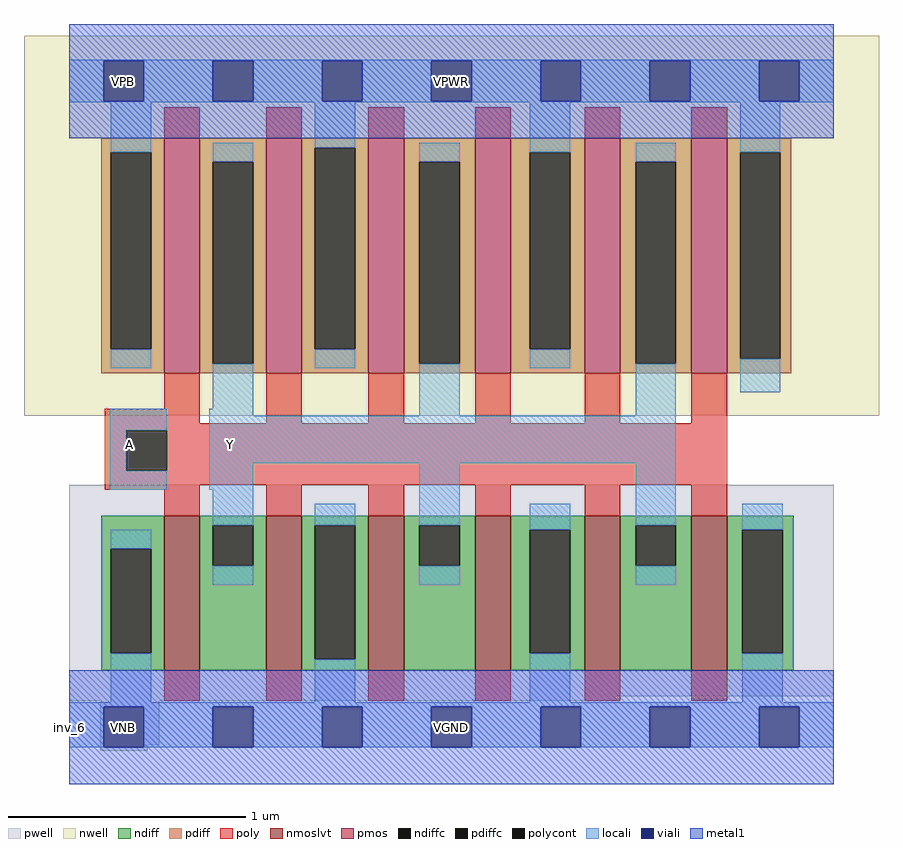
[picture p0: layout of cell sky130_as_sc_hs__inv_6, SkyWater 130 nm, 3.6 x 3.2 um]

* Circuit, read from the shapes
.subckt sky130_as_sc_hs__inv_6 VNB VPB VGND VPWR A Y
XM1 Y A VGND VNB sky130_fd_pr__nfet_01v8_lvt w=0.65 l=0.15 m=6
XM2 Y A VPWR VPB sky130_fd_pr__pfet_01v8 w=0.99 l=0.15 m=6
.ends

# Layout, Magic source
magic
tech sky130A
magscale 1 2
<< nwell >>
rect -38 262 682 582
<< pwell >>
rect 0 26 644 204
rect 0 24 460 26
rect 0 22 464 24
rect 524 22 554 24
rect 26 -15 76 22
rect 26 -20 66 -15
<< pmos >>
rect 80 298 110 496
rect 166 298 196 496
rect 252 298 282 496
rect 342 298 372 496
rect 434 298 464 496
rect 524 298 554 496
<< nmoslvt >>
rect 80 48 110 178
rect 166 48 196 178
rect 252 48 282 178
rect 342 48 372 178
rect 434 48 464 178
rect 524 48 554 178
<< ndiff >>
rect 27 150 80 178
rect 27 62 35 150
rect 69 62 80 150
rect 27 48 80 62
rect 110 170 166 178
rect 110 136 121 170
rect 155 136 166 170
rect 110 48 166 136
rect 196 170 252 178
rect 196 57 207 170
rect 241 57 252 170
rect 196 48 252 57
rect 282 170 342 178
rect 282 136 295 170
rect 329 136 342 170
rect 282 48 342 136
rect 372 166 434 178
rect 372 62 388 166
rect 422 62 434 166
rect 372 48 434 62
rect 464 170 524 178
rect 464 136 477 170
rect 511 136 524 170
rect 464 48 524 136
rect 554 166 610 178
rect 554 62 567 166
rect 601 62 610 166
rect 554 48 610 62
<< pdiff >>
rect 27 484 80 496
rect 27 318 35 484
rect 69 318 80 484
rect 27 298 80 318
rect 110 476 166 496
rect 110 306 121 476
rect 155 306 166 476
rect 110 298 166 306
rect 196 488 252 496
rect 196 318 207 488
rect 241 318 252 488
rect 196 298 252 318
rect 282 476 342 496
rect 282 306 295 476
rect 329 306 342 476
rect 282 298 342 306
rect 372 484 434 496
rect 372 318 388 484
rect 422 318 434 484
rect 372 298 434 318
rect 464 476 524 496
rect 464 306 477 476
rect 511 306 524 476
rect 464 298 524 306
rect 554 484 608 496
rect 554 310 565 484
rect 599 310 608 484
rect 554 298 608 310
<< ndiffc >>
rect 35 62 69 150
rect 121 136 155 170
rect 207 57 241 170
rect 295 136 329 170
rect 388 62 422 166
rect 477 136 511 170
rect 567 62 601 166
<< pdiffc >>
rect 35 318 69 484
rect 121 306 155 476
rect 207 318 241 488
rect 295 306 329 476
rect 388 318 422 484
rect 477 306 511 476
rect 565 310 599 484
<< poly >>
rect 80 496 110 522
rect 166 496 196 522
rect 252 496 282 522
rect 342 496 372 522
rect 434 496 464 522
rect 524 496 554 522
rect 80 268 110 298
rect 30 256 110 268
rect 166 256 196 298
rect 252 256 282 298
rect 342 256 372 298
rect 434 256 464 298
rect 524 256 554 298
rect 30 250 554 256
rect 30 216 48 250
rect 82 216 554 250
rect 30 204 554 216
rect 30 200 110 204
rect 80 178 110 200
rect 166 178 196 204
rect 252 178 282 204
rect 342 178 372 204
rect 434 178 464 204
rect 524 178 554 204
rect 80 22 110 48
rect 166 22 196 48
rect 252 22 282 48
rect 342 22 372 48
rect 434 22 464 48
rect 524 22 554 48
<< polycont >>
rect 48 216 82 250
<< locali >>
rect 0 561 644 562
rect 0 527 29 561
rect 63 527 121 561
rect 155 527 213 561
rect 247 527 305 561
rect 339 527 397 561
rect 431 527 489 561
rect 523 527 581 561
rect 615 527 644 561
rect 0 526 644 527
rect 35 484 69 526
rect 35 302 69 318
rect 121 476 155 492
rect 121 268 155 306
rect 207 488 241 526
rect 207 302 241 318
rect 295 476 329 492
rect 34 250 82 268
rect 34 216 48 250
rect 34 200 82 216
rect 118 262 155 268
rect 295 262 329 306
rect 388 484 422 526
rect 388 302 422 318
rect 477 476 511 492
rect 477 262 511 306
rect 565 484 599 526
rect 565 282 599 310
rect 118 222 511 262
rect 118 200 155 222
rect 121 170 155 200
rect 35 150 69 166
rect 121 120 155 136
rect 207 170 241 188
rect 35 21 69 62
rect 295 170 329 222
rect 295 120 329 136
rect 388 166 422 188
rect 207 21 241 57
rect 477 170 511 222
rect 477 120 511 136
rect 567 166 601 188
rect 388 21 422 62
rect 567 21 601 62
rect 0 17 644 21
rect 0 -17 29 17
rect 63 -17 121 17
rect 155 -17 213 17
rect 247 -17 305 17
rect 339 -17 397 17
rect 431 -17 489 17
rect 523 -17 581 17
rect 615 -17 644 17
<< viali >>
rect 29 527 63 561
rect 121 527 155 561
rect 213 527 247 561
rect 305 527 339 561
rect 397 527 431 561
rect 489 527 523 561
rect 581 527 615 561
rect 29 -17 63 17
rect 121 -17 155 17
rect 213 -17 247 17
rect 305 -17 339 17
rect 397 -17 431 17
rect 489 -17 523 17
rect 581 -17 615 17
<< metal1 >>
rect 0 561 644 592
rect 0 527 29 561
rect 63 527 121 561
rect 155 527 213 561
rect 247 527 305 561
rect 339 527 397 561
rect 431 527 489 561
rect 523 527 581 561
rect 615 527 644 561
rect 0 496 644 527
rect 0 17 644 48
rect 0 -17 29 17
rect 63 -17 121 17
rect 155 -17 213 17
rect 247 -17 305 17
rect 339 -17 397 17
rect 431 -17 489 17
rect 523 -17 581 17
rect 615 -17 644 17
rect 0 -48 644 -17
<< labels >>
rlabel comment s 0 0 0 0 4 inv_6
flabel pwell s 29 -17 63 17 0 FreeSans 200 0 0 0 VNB
port 1 nsew ground bidirectional
flabel pwell s 46 0 46 0 0 FreeSans 200 0 0 0 VNB
flabel nwell s 29 527 63 561 0 FreeSans 200 0 0 0 VPB
port 2 nsew power bidirectional
flabel nwell s 46 544 46 544 0 FreeSans 200 0 0 0 VPB
flabel metal1 s 29 527 63 561 0 FreeSans 200 0 0 0 VPWR
port 4 nsew power bidirectional abutment
rlabel metal1 s 0 496 644 592 1 VPWR
port 4 nsew power bidirectional abutment
rlabel metal1 s 0 -48 644 48 1 VGND
port 3 nsew ground bidirectional abutment
flabel metal1 s 29 -17 63 17 0 FreeSans 200 0 0 0 VGND
port 3 nsew ground bidirectional abutment
flabel locali 34 221 68 255 0 FreeSans 200 0 0 0 A
port 5 nsew signal input
flabel locali 51 238 51 238 0 FreeSans 200 0 0 0 A
flabel locali 119 221 153 255 0 FreeSans 200 0 0 0 Y
port 6 nsew signal output
flabel locali 136 238 136 238 0 FreeSans 200 0 0 0 Y
<< properties >>
string FIXED_BBOX 0 0 644 544
string GDS_FILE $PDKPATH/libs.ref/sky130_as_sc_hs/gds/sky130_as_sc_hs__inv_6.gds
string LEFclass CORE
string LEFsite unithd
string LEFsymmetry X Y R90
string MASKHINTS_LVTN 0 -4 644 214
string MASKHINTS_NSDM 0 -38 644 204
string MASKHINTS_PSDM 0 270 644 582
<< end >>
